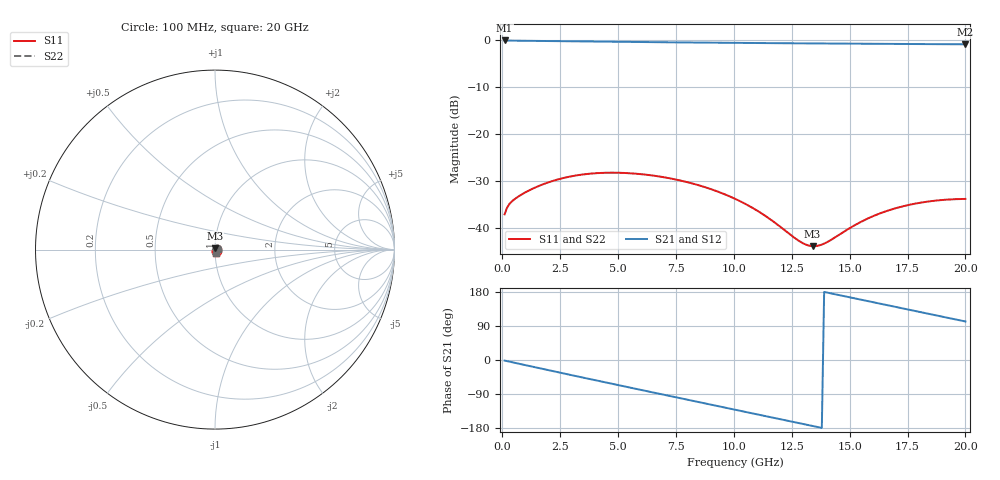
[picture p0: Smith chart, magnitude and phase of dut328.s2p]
! Touchstone file exported from HFSS 2026.1.0
!  File:  C:/ffzhzh/LocalFiles/Ansys_Project_Files/temp_train_TSV_RDL_328_1783032988_55676.aedt
!  Generated:  07:07:44 AM Jul  3, 2026
!  Design:  TSV_RDL
!  Project:  temp_train_TSV_RDL_328_1783032988_55676
! Variables:
!  h_bsmrdl = 3.85um
!  h_ox = 20um
!  h_rdl = 5um
!  h_sub = 82.43um
!  h_tmrdl = 5.74um
!  h_tsv = 82.43um
!  h_via = 3um
!  l_bsmrdl = 321.27um
!  l_sub = 4412.25um
!  l_tmrdl = 726.17um
!  m_sub = 200um
!  pitch = 30.03um
!  r_tsv = 8.85um
!  s_tmrdl = 10um
!  w_bsmrdl = 23.58um
!  w_sub = 500um
!  w_tmrdl = 24.34um
!  x_tsv_center1 = 738.34um
!  x_tsv_center2 = 1083.19um
!  x_tsv_center3 = 1833.7um
!  x_tsv_center4 = 2178.55um
!  x_tsv_center5 = 2929.06um
!  x_tsv_center6 = 3273.91um
# GHz S MA R 50.000000
! Terminal data exported
! Port[1] = TM_RDL1_1_T1
! Port[2] = TM_RDL5_1_T1
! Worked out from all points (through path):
!   200 points, 100 MHz to 20 GHz, reference 50 ohm
!   highest |S21| = -0.12 dB at 100 MHz (marker M1); lowest = -0.9 dB at 20 GHz (marker M2)
!   group delay of S21, straight-line fit = 35.7 ps
!   lowest |S11| = -43.8 dB at 13.4 GHz (marker M3), VSWR 1.01, Z = 49.8 + j0.624 ohm
!   |S11| at or under -10 dB: start of sweep to end of sweep
!   |S22| runs from -43.8 to -28.2 dB; largest |S21 - S12| = 2.1e-13
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0.1  0.0141 13.5  0.9864 -1.5  0.9864 -1.5  0.0141 13.5
! Gamma 0 0 0 0
! Port Impedance 50 0 50 0
0.2  0.01646 16.2  0.9844 -2.9  0.9844 -2.9  0.01645 16.2
0.4  0.01919 15.9  0.9819 -5.6  0.9819 -5.6  0.01918 15.9
1.1  0.02487 12.8  0.9777 -15.0  0.9777 -15.0  0.02487 12.8
2.3  0.03254 -0.3  0.9705 -30.9  0.9705 -30.9  0.03251 -0.2
3.5  0.03737 -18.3  0.9629 -46.6  0.9629 -46.6  0.03733 -18.3
4.4  0.03886 -33.0  0.9574 -58.4  0.9574 -58.4  0.03879 -32.9
5.2  0.03879 -46.3  0.9529 -68.7  0.9529 -68.7  0.03869 -46.2
6  0.0376 -59.7  0.9486 -79.1  0.9486 -79.1  0.03748 -59.7
6.8  0.03547 -73.3  0.9445 -89.4  0.9445 -89.4  0.03533 -73.3
8.4  0.02907 -101.4  0.937 -110.0  0.937 -110.0  0.02888 -101.3
10.1  0.02033 -134.0  0.9296 -131.8  0.9296 -131.8  0.02013 -134.0
11  0.01547 -154.4  0.926 -143.4  0.926 -143.4  0.01527 -154.5
11.8  0.01136 -177.0  0.9229 -153.6  0.9229 -153.6  0.01119 -177.3
12.8  0.007391 140.8  0.9193 -166.4  0.9193 -166.4  0.00729 139.9
13.4  0.006472 104.6  0.9172 -174.1  0.9172 -174.1  0.006443 103.5
13.9  0.006888 74.1  0.9155 179.5  0.9155 179.5  0.006907 73.3
15  0.01004 26.6  0.912 165.5  0.912 165.5  0.01007 26.5
15.8  0.01278 3.9  0.9096 155.3  0.9096 155.3  0.01276 4.0
16.7  0.01557 -16.8  0.9069 143.8  0.9069 143.8  0.01549 -16.6
18.4  0.01928 -50.5  0.9021 122.0  0.9021 122.0  0.01903 -50.3
20  0.02052 -80.3  0.8977 101.6  0.8977 101.6  0.02011 -80.2
